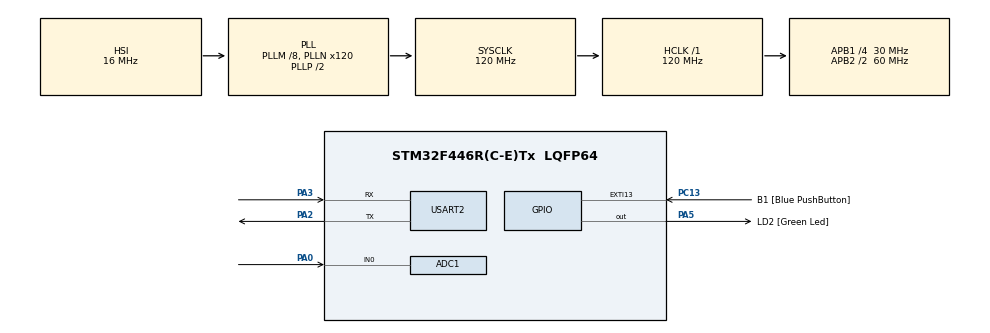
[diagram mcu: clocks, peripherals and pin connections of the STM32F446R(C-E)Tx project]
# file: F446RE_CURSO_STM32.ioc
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ADC1.Channel-1\#ChannelRegularConversion=ADC_CHANNEL_0
ADC1.NbrOfConversionFlag=1
ADC1.Rank-1\#ChannelRegularConversion=1
ADC1.SamplingTime-1\#ChannelRegularConversion=ADC_SAMPLETIME_3CYCLES
ADC1.master=1
Mcu.Family=STM32F4
Mcu.Name=STM32F446R(C-E)Tx
Mcu.Package=LQFP64
NVIC.EXTI15_10_IRQn=true\:0\:0\:false\:false\:true\:true\:true\:true
NVIC.PriorityGroup=NVIC_PRIORITYGROUP_0
NVIC.TIM2_IRQn=true\:0\:0\:false\:false\:true\:true\:true\:true
PA0-WKUP.Signal=ADCx_IN0
PA13.GPIO_Label=TMS
PA13.Mode=Serial_Wire
PA13.Signal=SYS_JTMS-SWDIO
PA14.GPIO_Label=TCK
PA14.Mode=Serial_Wire
PA14.Signal=SYS_JTCK-SWCLK
PA2.Mode=Asynchronous
PA2.Signal=USART2_TX
PA3.Mode=Asynchronous
PA3.Signal=USART2_RX
PA5.GPIO_Label=LD2 [Green Led]
PA5.Signal=GPIO_Output
PC13.GPIO_Label=B1 [Blue PushButton]
PC13.GPIO_ModeDefaultEXTI=GPIO_MODE_IT_FALLING
PC13.Signal=GPXTI13
PC14-OSC32_IN.Mode=LSE-External-Oscillator
PC14-OSC32_IN.Signal=RCC_OSC32_IN
PC15-OSC32_OUT.Mode=LSE-External-Oscillator
PC15-OSC32_OUT.Signal=RCC_OSC32_OUT
PH0-OSC_IN.Mode=HSE-External-Oscillator
PH0-OSC_IN.Signal=RCC_OSC_IN
PH1-OSC_OUT.Mode=HSE-External-Oscillator
PH1-OSC_OUT.Signal=RCC_OSC_OUT
ProjectManager.HeapSize=0x200
ProjectManager.StackSize=0x400
ProjectManager.TargetToolchain=STM32CubeIDE
RCC.48MHZClocksFreq_Value=84000000
RCC.AHBFreq_Value=120000000
RCC.APB1CLKDivider=RCC_HCLK_DIV4
RCC.APB1Freq_Value=30000000
RCC.APB1TimFreq_Value=60000000
RCC.APB2CLKDivider=RCC_HCLK_DIV2
RCC.APB2Freq_Value=60000000
RCC.APB2TimFreq_Value=120000000
RCC.CortexFreq_Value=120000000
RCC.FLatency-AdvancedSettings=FLASH_LATENCY_3
RCC.HCLKFreq_Value=120000000
RCC.HSE_VALUE=8000000
RCC.HSI_VALUE=16000000
RCC.PLLM=8
RCC.PLLN=120
RCC.SYSCLKFreq_VALUE=120000000
RCC.SYSCLKSource=RCC_SYSCLKSOURCE_PLLCLK
RCC.USBFreq_Value=120000000
RCC.VCOOutputFreq_Value=240000000
SH.ADCx_IN0.0=ADC1_IN0,IN0
TIM2.Period=2000-1
TIM2.Prescaler=1200-1
USART2.VirtualMode=VM_ASYNC
VP_TIM2_VS_ClockSourceINT.Mode=Internal
board=NUCLEO-F446RE

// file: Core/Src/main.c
/* USER CODE BEGIN Header */
/**
  ******************************************************************************
  * @file           : main.c
  * @brief          : Main program body
  ******************************************************************************
  * @attention
  *
  * Copyright (c) 2022 STMicroelectronics.
  * All rights reserved.
  *
  * This software is licensed under terms that can be found in the LICENSE file
  * in the root directory of this software component.
  * If no LICENSE file comes with this software, it is provided AS-IS.
  *
  ******************************************************************************
  */
/* USER CODE END Header */
#include "main.h"

/* USER CODE BEGIN Includes */
#include <stdio.h>
#include <string.h>

/* USER CODE END Includes */

ADC_HandleTypeDef hadc1;

TIM_HandleTypeDef htim2;

UART_HandleTypeDef huart2;

void SystemClock_Config(void);
static void MX_GPIO_Init(void);
static void MX_USART2_UART_Init(void);
static void MX_ADC1_Init(void);
static void MX_TIM2_Init(void);
/* USER CODE BEGIN PFP */
void send_uart(char *string);
uint32_t map(uint32_t IN, uint32_t INmin, uint32_t INmax, uint32_t OUTmin, uint32_t OUTmax);
/* USER CODE END PFP */

int main(void)
{

  /* MCU Configuration--------------------------------------------------------*/

  /* Reset of all peripherals, Initializes the Flash interface and the Systick. */
  HAL_Init();

  /* Configure the system clock */
  SystemClock_Config();

  /* Initialize all configured peripherals */
  MX_GPIO_Init();
  MX_USART2_UART_Init();
  MX_ADC1_Init();
  MX_TIM2_Init();
  /* USER CODE BEGIN 2 */
  uint32_t adc_value = 0;
  uint32_t servo = 0;
  HAL_TIM_PWM_Start(&htim2, TIM_CHANNEL_1);

  /* USER CODE END 2 */

  /* Infinite loop */
  /* USER CODE BEGIN WHILE */
  while (1)
  {
//	  HAL_GPIO_TogglePin(LD2_GPIO_Port, LD2_Pin);
//	  HAL_Delay(500);

//	  send_uart("Hola Mundo\r\n");
//	  HAL_Delay(2000);
	  HAL_ADC_Start(&hadc1);
	  while(HAL_ADC_PollForConversion(&hadc1, 100) == HAL_OK);
	  adc_value = HAL_ADC_GetValue(&hadc1);
	  servo = map(adc_value, 0, 4095, 99, 199);

	  __HAL_TIM_SET_COMPARE(&htim2, TIM_CHANNEL_1, servo);
	  HAL_Delay(10);

    /* USER CODE END WHILE */

  }
}

void SystemClock_Config(void)
{
  RCC_OscInitTypeDef RCC_OscInitStruct = {0};
  RCC_ClkInitTypeDef RCC_ClkInitStruct = {0};

  /** Configure the main internal regulator output voltage
  */
  __HAL_RCC_PWR_CLK_ENABLE();
  __HAL_PWR_VOLTAGESCALING_CONFIG(PWR_REGULATOR_VOLTAGE_SCALE3);

  /** Initializes the RCC Oscillators according to the specified parameters
  * in the RCC_OscInitTypeDef structure.
  */
  RCC_OscInitStruct.OscillatorType = RCC_OSCILLATORTYPE_HSI;
  RCC_OscInitStruct.HSIState = RCC_HSI_ON;
  RCC_OscInitStruct.HSICalibrationValue = RCC_HSICALIBRATION_DEFAULT;
  RCC_OscInitStruct.PLL.PLLState = RCC_PLL_ON;
  RCC_OscInitStruct.PLL.PLLSource = RCC_PLLSOURCE_HSI;
  RCC_OscInitStruct.PLL.PLLM = 8;
  RCC_OscInitStruct.PLL.PLLN = 120;
  RCC_OscInitStruct.PLL.PLLP = RCC_PLLP_DIV2;
  RCC_OscInitStruct.PLL.PLLQ = 2;
  RCC_OscInitStruct.PLL.PLLR = 2;
  if (HAL_RCC_OscConfig(&RCC_OscInitStruct) != HAL_OK)
  {
    Error_Handler();
  }

  /** Initializes the CPU, AHB and APB buses clocks
  */
  RCC_ClkInitStruct.ClockType = RCC_CLOCKTYPE_HCLK|RCC_CLOCKTYPE_SYSCLK
                              |RCC_CLOCKTYPE_PCLK1|RCC_CLOCKTYPE_PCLK2;
  RCC_ClkInitStruct.SYSCLKSource = RCC_SYSCLKSOURCE_PLLCLK;
  RCC_ClkInitStruct.AHBCLKDivider = RCC_SYSCLK_DIV1;
  RCC_ClkInitStruct.APB1CLKDivider = RCC_HCLK_DIV4;
  RCC_ClkInitStruct.APB2CLKDivider = RCC_HCLK_DIV2;

  if (HAL_RCC_ClockConfig(&RCC_ClkInitStruct, FLASH_LATENCY_3) != HAL_OK)
  {
    Error_Handler();
  }
}

static void MX_ADC1_Init(void)
{

  ADC_ChannelConfTypeDef sConfig = {0};

  /** Configure the global features of the ADC (Clock, Resolution, Data Alignment and number of conversion)
  */
  hadc1.Instance = ADC1;
  hadc1.Init.ClockPrescaler = ADC_CLOCK_SYNC_PCLK_DIV2;
  hadc1.Init.Resolution = ADC_RESOLUTION_12B;
  hadc1.Init.ScanConvMode = DISABLE;
  hadc1.Init.ContinuousConvMode = DISABLE;
  hadc1.Init.DiscontinuousConvMode = DISABLE;
  hadc1.Init.ExternalTrigConvEdge = ADC_EXTERNALTRIGCONVEDGE_NONE;
  hadc1.Init.ExternalTrigConv = ADC_SOFTWARE_START;
  hadc1.Init.DataAlign = ADC_DATAALIGN_RIGHT;
  hadc1.Init.NbrOfConversion = 1;
  hadc1.Init.DMAContinuousRequests = DISABLE;
  hadc1.Init.EOCSelection = ADC_EOC_SINGLE_CONV;
  if (HAL_ADC_Init(&hadc1) != HAL_OK)
  {
    Error_Handler();
  }

  /** Configure for the selected ADC regular channel its corresponding rank in the sequencer and its sample time.
  */
  sConfig.Channel = ADC_CHANNEL_0;
  sConfig.Rank = 1;
  sConfig.SamplingTime = ADC_SAMPLETIME_3CYCLES;
  if (HAL_ADC_ConfigChannel(&hadc1, &sConfig) != HAL_OK)
  {
    Error_Handler();
  }

}

static void MX_TIM2_Init(void)
{

  TIM_ClockConfigTypeDef sClockSourceConfig = {0};
  TIM_MasterConfigTypeDef sMasterConfig = {0};

  htim2.Instance = TIM2;
  htim2.Init.Prescaler = 1200-1;
  htim2.Init.CounterMode = TIM_COUNTERMODE_UP;
  htim2.Init.Period = 2000-1;
  htim2.Init.ClockDivision = TIM_CLOCKDIVISION_DIV1;
  htim2.Init.AutoReloadPreload = TIM_AUTORELOAD_PRELOAD_DISABLE;
  if (HAL_TIM_Base_Init(&htim2) != HAL_OK)
  {
    Error_Handler();
  }
  sClockSourceConfig.ClockSource = TIM_CLOCKSOURCE_INTERNAL;
  if (HAL_TIM_ConfigClockSource(&htim2, &sClockSourceConfig) != HAL_OK)
  {
    Error_Handler();
  }
  sMasterConfig.MasterOutputTrigger = TIM_TRGO_RESET;
  sMasterConfig.MasterSlaveMode = TIM_MASTERSLAVEMODE_DISABLE;
  if (HAL_TIMEx_MasterConfigSynchronization(&htim2, &sMasterConfig) != HAL_OK)
  {
    Error_Handler();
  }

}

static void MX_USART2_UART_Init(void)
{

  huart2.Instance = USART2;
  huart2.Init.BaudRate = 115200;
  huart2.Init.WordLength = UART_WORDLENGTH_8B;
  huart2.Init.StopBits = UART_STOPBITS_1;
  huart2.Init.Parity = UART_PARITY_NONE;
  huart2.Init.Mode = UART_MODE_TX_RX;
  huart2.Init.HwFlowCtl = UART_HWCONTROL_NONE;
  huart2.Init.OverSampling = UART_OVERSAMPLING_16;
  if (HAL_UART_Init(&huart2) != HAL_OK)
  {
    Error_Handler();
  }

}

static void MX_GPIO_Init(void)
{
  GPIO_InitTypeDef GPIO_InitStruct = {0};

  /* GPIO Ports Clock Enable */
  __HAL_RCC_GPIOC_CLK_ENABLE();
  __HAL_RCC_GPIOH_CLK_ENABLE();
  __HAL_RCC_GPIOA_CLK_ENABLE();

  /*Configure GPIO pin Output Level */
  HAL_GPIO_WritePin(LD2_GPIO_Port, LD2_Pin, GPIO_PIN_RESET);

  /*Configure GPIO pin : B1_Pin */
  GPIO_InitStruct.Pin = B1_Pin;
  GPIO_InitStruct.Mode = GPIO_MODE_IT_FALLING;
  GPIO_InitStruct.Pull = GPIO_NOPULL;
  HAL_GPIO_Init(B1_GPIO_Port, &GPIO_InitStruct);

  /*Configure GPIO pin : LD2_Pin */
  GPIO_InitStruct.Pin = LD2_Pin;
  GPIO_InitStruct.Mode = GPIO_MODE_OUTPUT_PP;
  GPIO_InitStruct.Pull = GPIO_NOPULL;
  GPIO_InitStruct.Speed = GPIO_SPEED_FREQ_LOW;
  HAL_GPIO_Init(LD2_GPIO_Port, &GPIO_InitStruct);

  /* EXTI interrupt init*/
  HAL_NVIC_SetPriority(EXTI15_10_IRQn, 0, 0);
  HAL_NVIC_EnableIRQ(EXTI15_10_IRQn);

}

/* USER CODE BEGIN 4 */
void HAL_GPIO_EXTI_Callback(uint16_t GPIO_Pin)
{
	if(GPIO_Pin == B1_Pin)
	{
		HAL_TIM_Base_Start_IT(&htim2);
		HAL_NVIC_DisableIRQ(EXTI15_10_IRQn);
	}
}

void HAL_TIM_PeriodElapsedCallback(TIM_HandleTypeDef *htim)
{
	HAL_TIM_Base_Stop_IT(&htim2);
	if(HAL_GPIO_ReadPin(B1_GPIO_Port, B1_Pin) == GPIO_PIN_RESET){
		HAL_GPIO_TogglePin(LD2_GPIO_Port, LD2_Pin);
		send_uart("Boton Pulsado\r\n");
		}
	HAL_NVIC_EnableIRQ(EXTI15_10_IRQn);
}

void send_uart(char *string)
{
	HAL_UART_Transmit(&huart2, (uint8_t *)string, strlen(string), 100);
}

uint32_t map(uint32_t IN, uint32_t INmin, uint32_t INmax, uint32_t OUTmin, uint32_t OUTmax)
{
    return ((((IN - INmin)*(OUTmax - OUTmin))/(INmax - INmin)) + OUTmin);
}

/* USER CODE END 4 */

void Error_Handler(void)
{
  __disable_irq();
  while (1)
  {
  }
}
